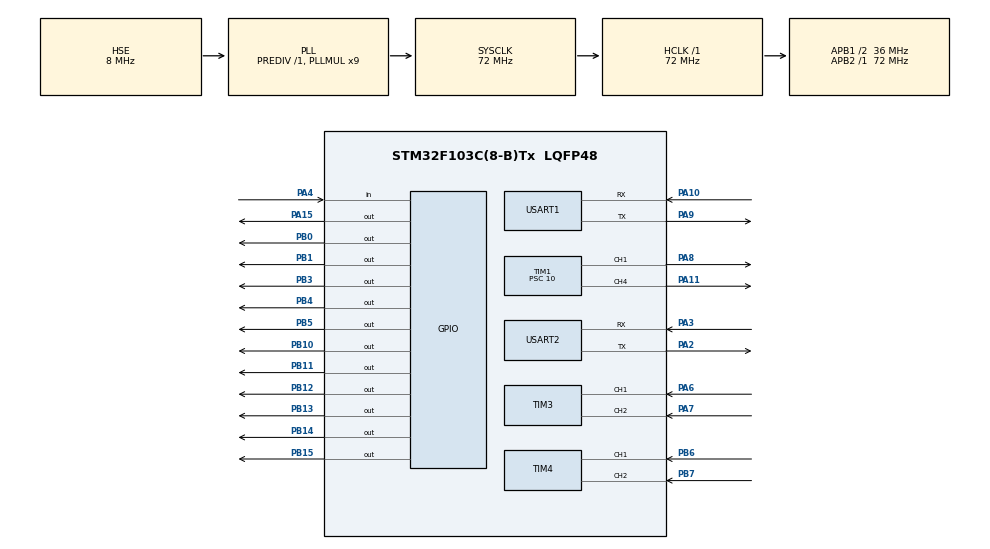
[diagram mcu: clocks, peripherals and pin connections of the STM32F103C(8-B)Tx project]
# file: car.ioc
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Mcu.Family=STM32F1
Mcu.Name=STM32F103C(8-B)Tx
Mcu.Package=LQFP48
NVIC.PriorityGroup=NVIC_PRIORITYGROUP_4
NVIC.TIM2_IRQn=true\:0\:0\:false\:false\:true\:true\:true\:true
NVIC.USART1_IRQn=true\:1\:0\:true\:false\:true\:true\:true\:true
NVIC.USART2_IRQn=true\:1\:0\:true\:false\:true\:true\:true\:true
PA10.Mode=Asynchronous
PA10.Signal=USART1_RX
PA11.Signal=S_TIM1_CH4
PA13.Mode=Serial_Wire
PA13.Signal=SYS_JTMS-SWDIO
PA14.Mode=Serial_Wire
PA14.Signal=SYS_JTCK-SWCLK
PA15.Signal=GPIO_Output
PA2.Mode=Asynchronous
PA2.Signal=USART2_TX
PA3.Mode=Asynchronous
PA3.Signal=USART2_RX
PA4.Signal=GPIO_Input
PA6.Signal=S_TIM3_CH1
PA7.Signal=S_TIM3_CH2
PA8.Signal=S_TIM1_CH1
PA9.Mode=Asynchronous
PA9.Signal=USART1_TX
PB0.Signal=GPIO_Output
PB1.Signal=GPIO_Output
PB10.Signal=GPIO_Output
PB11.Signal=GPIO_Output
PB12.Signal=GPIO_Output
PB13.Signal=GPIO_Output
PB14.Signal=GPIO_Output
PB15.Signal=GPIO_Output
PB3.Signal=GPIO_Output
PB4.Signal=GPIO_Output
PB5.Signal=GPIO_Output
PB6.Signal=S_TIM4_CH1
PB7.Signal=S_TIM4_CH2
PD0-OSC_IN.Mode=HSE-External-Oscillator
PD0-OSC_IN.Signal=RCC_OSC_IN
PD1-OSC_OUT.Mode=HSE-External-Oscillator
PD1-OSC_OUT.Signal=RCC_OSC_OUT
ProjectManager.HeapSize=0x200
ProjectManager.StackSize=0x400
ProjectManager.TargetToolchain=MDK-ARM V5.27
RCC.AHBFreq_Value=72000000
RCC.APB1CLKDivider=RCC_HCLK_DIV2
RCC.APB1Freq_Value=36000000
RCC.APB1TimFreq_Value=72000000
RCC.APB2Freq_Value=72000000
RCC.APB2TimFreq_Value=72000000
RCC.HCLKFreq_Value=72000000
RCC.PLLMUL=RCC_PLL_MUL9
RCC.PLLSourceVirtual=RCC_PLLSOURCE_HSE
RCC.SYSCLKFreq_VALUE=72000000
RCC.SYSCLKSource=RCC_SYSCLKSOURCE_PLLCLK
RCC.USBFreq_Value=72000000
SH.S_TIM1_CH1.0=TIM1_CH1,PWM Generation1 CH1
SH.S_TIM1_CH4.0=TIM1_CH4,PWM Generation4 CH4
SH.S_TIM3_CH1.0=TIM3_CH1,Encoder_Interface
SH.S_TIM3_CH2.0=TIM3_CH2,Encoder_Interface
SH.S_TIM4_CH1.0=TIM4_CH1,Encoder_Interface
SH.S_TIM4_CH2.0=TIM4_CH2,Encoder_Interface
TIM1.Channel-PWM\ Generation1\ CH1=TIM_CHANNEL_1
TIM1.Channel-PWM\ Generation4\ CH4=TIM_CHANNEL_4
TIM1.Period=7200-1
TIM1.Prescaler=10
TIM1.Pulse-PWM\ Generation1\ CH1=0
TIM1.Pulse-PWM\ Generation4\ CH4=0
TIM2.Period=4999
TIM2.Prescaler=71
TIM3.EncoderMode=TIM_ENCODERMODE_TI12
TIM4.EncoderMode=TIM_ENCODERMODE_TI12
USART1.VirtualMode=VM_ASYNC
USART2.VirtualMode=VM_ASYNC
VP_TIM1_VS_ClockSourceINT.Mode=Internal
VP_TIM2_VS_ClockSourceINT.Mode=Internal
board=custom

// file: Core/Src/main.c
/* USER CODE BEGIN Header */
/**
  ******************************************************************************
  * @file           : main.c
  * @brief          : Main program body
  ******************************************************************************
  * @attention
  *
  * <h2><center>&copy; Copyright (c) 2022 STMicroelectronics.
  * All rights reserved.</center></h2>
  *
  * This software component is licensed by ST under BSD 3-Clause license,
  * the "License"; You may not use this file except in compliance with the
  * License. You may obtain a copy of the License at:
  *                        opensource.org/licenses/BSD-3-Clause
  *
  ******************************************************************************
  */
/* USER CODE END Header */
#include "main.h"
#include "tim.h"
#include "usart.h"
#include "gpio.h"

/* USER CODE BEGIN Includes */
#include "stm32_hal_legacy.h"
#include "XMF_OLED_STM32Cube.h" //OLED头文件
#include "stdio.h"		//使用printf用
#include "inv_mpu.h"
#include "pid_api.h"
#include "mpu6050.h"
/* USER CODE END Includes */

/* USER CODE BEGIN PTD */
extern float pitch,roll,yaw; 		//欧拉角:俯仰角，滚转角，偏航角
extern short aacx,aacy,aacz;		//加速度传感器原始数据  加速度
extern short gyrox,gyroy,gyroz;	//陀螺仪原始数据  角速度
//short temp;					//MPU温度
extern int Encoder_LEFT;//左编码器读取的数值
extern int Encoder_Right;//右编码器读取的数值
extern int PWM_MAX,PWM_MIN;	// PWM限幅变量
extern int MOTO1;
extern int MOTO2;

extern float Med_Angle;      // 机械中值，能使得小车真正平衡住的角度
extern float Target_Speed;	  // 期望速度。---二次开发接口，用于控制小车前进后退及其速度。
extern float
  Vertical_Kp,
  Vertical_Kd;      // 直立环Kp、Kd
//  Vertical_Kp=0,
//  Vertical_Kd=0;      // 直立环Kp、Kd
extern float
  Velocity_Kp,
  Velocity_Ki;   // 速度环Kp、Ki（正反馈）
extern float
  Turn_Kp;
extern int Vertical_out,Velocity_out,Turn_out; // 直立环&速度环&转向环的输出变
char flag=0;
uint8_t Target_Speed_flag;
/* USER CODE END PTD */

void SystemClock_Config(void);

/* USER CODE BEGIN 0 */

#pragma import(__use_no_semihosting)
//标准库需要的支持函数
struct __FILE
{
	int handle;
};

FILE __stdout;
//定义_sys_exit()以避免使用半主机模式
void _sys_exit(int x)
{
	x = x;
}
//重定义fputc函数
int fputc(int ch, FILE *f)
{
	while((USART1->SR&0X40)==0);//循环发送,直到发送完毕
    USART1->DR = (u8) ch;
	return ch;
}
uint8_t str_buff[64];
short temp;
int temp1;
int temp2;
int temp3;
uint8_t str_buff1[64];
uint8_t str_buff2[64];
uint8_t str_buff3[64];

void HAL_TIM_PeriodElapsedCallback(TIM_HandleTypeDef *htim)
{
    if (htim == (&htim2))
    {
					flag=1;
					__HAL_TIM_CLEAR_IT(&htim2,TIM_IT_UPDATE ); //清除IT标志位

    }
		if(htim == (&htim3))
		{
					__HAL_TIM_CLEAR_IT(&htim3,TIM_IT_UPDATE ); //清除IT标志位
		}
		if(htim == (&htim4))
		{
					__HAL_TIM_CLEAR_IT(&htim4,TIM_IT_UPDATE ); //清除IT标志位
		}
	}

void HAL_UART_RxCpltCallback(UART_HandleTypeDef *huart)
{
	if(huart == (&huart1))
	{
		if(Target_Speed_flag==0xa0)
			Target_Speed = Target_Speed+10;
		else if(Target_Speed_flag==0xa1)
			Target_Speed = Target_Speed-10;
	}
	HAL_UART_Receive_IT(&huart1,&Target_Speed_flag,sizeof(Target_Speed_flag));//因为接收中断使用了一次即关闭，所以在最后加入这行代码即可实现无限使用
}
/* USER CODE END 0 */

int main(void)
{

  /* MCU Configuration--------------------------------------------------------*/

  /* Reset of all peripherals, Initializes the Flash interface and the Systick. */
  HAL_Init();

  /* Configure the system clock */
  SystemClock_Config();

  /* Initialize all configured peripherals */
  MX_GPIO_Init();
  MX_USART1_UART_Init();
  MX_TIM1_Init();
  MX_TIM3_Init();
  MX_TIM4_Init();
  MX_USART2_UART_Init();
  MX_TIM2_Init();
  /* USER CODE BEGIN 2 */
//
	OLED_Init();
	MPU_Init();
	mpu_dmp_init();                           //初始化mpu_dmp库
		/*打开编码器捕获*/
  HAL_TIM_Encoder_Start(&htim3, TIM_CHANNEL_1); // 开启编码器A
  HAL_TIM_Encoder_Start(&htim3, TIM_CHANNEL_2); // 开启编码器B
		/*打开编码器捕获*/
  HAL_TIM_Encoder_Start(&htim4, TIM_CHANNEL_1); // 开启编码器A
  HAL_TIM_Encoder_Start(&htim4, TIM_CHANNEL_2); // 开启编码器B
		/*打开PWM输出*/
	HAL_TIM_PWM_Start(&htim1,TIM_CHANNEL_1);
		/*打开PWM输出*/
	HAL_TIM_PWM_Start(&htim1,TIM_CHANNEL_4);
	HAL_TIM_Base_Start_IT(&htim2);

	HAL_UART_Receive_IT(&huart1,&Target_Speed_flag,sizeof(Target_Speed_flag));

//		/*打开定时器中断*/
  /* USER CODE END 2 */

  /* Infinite loop */
  while (1)
  {
			if(flag==1)
			{
					MPU6050_get();
					motor_encoder_get();
					Velocity_out=Velocity(Target_Speed,Encoder_LEFT,Encoder_Right); // 速度环
					Vertical_out=Vertical(Velocity_out+Med_Angle,pitch,gyroy);			  // 直立环
					Turn_out=Turn(gyroz);
				  MOTO2 = Vertical_out+Turn_out; // 右电机
					MOTO1 = Vertical_out-Turn_out; // 左电机
					Limit(&MOTO1,&MOTO2);     // PWM限幅
					Load(MOTO1,MOTO2);        // 加载到电机上
					flag=0;
			}
	}
}

void SystemClock_Config(void)
{
  RCC_OscInitTypeDef RCC_OscInitStruct = {0};
  RCC_ClkInitTypeDef RCC_ClkInitStruct = {0};

  /** Initializes the RCC Oscillators according to the specified parameters
  * in the RCC_OscInitTypeDef structure.
  */
  RCC_OscInitStruct.OscillatorType = RCC_OSCILLATORTYPE_HSE;
  RCC_OscInitStruct.HSEState = RCC_HSE_ON;
  RCC_OscInitStruct.HSEPredivValue = RCC_HSE_PREDIV_DIV1;
  RCC_OscInitStruct.HSIState = RCC_HSI_ON;
  RCC_OscInitStruct.PLL.PLLState = RCC_PLL_ON;
  RCC_OscInitStruct.PLL.PLLSource = RCC_PLLSOURCE_HSE;
  RCC_OscInitStruct.PLL.PLLMUL = RCC_PLL_MUL9;
  if (HAL_RCC_OscConfig(&RCC_OscInitStruct) != HAL_OK)
  {
    Error_Handler();
  }

  /** Initializes the CPU, AHB and APB buses clocks
  */
  RCC_ClkInitStruct.ClockType = RCC_CLOCKTYPE_HCLK|RCC_CLOCKTYPE_SYSCLK
                              |RCC_CLOCKTYPE_PCLK1|RCC_CLOCKTYPE_PCLK2;
  RCC_ClkInitStruct.SYSCLKSource = RCC_SYSCLKSOURCE_PLLCLK;
  RCC_ClkInitStruct.AHBCLKDivider = RCC_SYSCLK_DIV1;
  RCC_ClkInitStruct.APB1CLKDivider = RCC_HCLK_DIV2;
  RCC_ClkInitStruct.APB2CLKDivider = RCC_HCLK_DIV1;

  if (HAL_RCC_ClockConfig(&RCC_ClkInitStruct, FLASH_LATENCY_2) != HAL_OK)
  {
    Error_Handler();
  }
}

/* USER CODE BEGIN 4 */

//void MPU_Read(void)
//{
//
//	if(mpu_dmp_get_data(&pitch,&roll,&yaw)==0)//dmp处理得到数据，对返回值进行判断
//	{
////		temp=MPU_Get_Temperature();	              //得到温度值
//		MPU_Get_Accelerometer(&aacx,&aacy,&aacz);	//得到加速度传感器数据
//		MPU_Get_Gyroscope(&gyrox,&gyroy,&gyroz);	//得到陀螺仪数据
//		mpu6050.speed++;                          //上报速度自加
//		if(mpu6050.speed == 4)						//上报速度阈值设置
//		{
//			mpu6050.flag = 1;						//采集成功标志位设置为有效
//			mpu6050.speed = 0;						//上报速度归零
//		}
//	}
//	else 											//采集不成功
//	{
//		mpu6050.flag = 0;							//采集成功标志位设置为无效
//	}
//}
/**
  * @brief  MPU6050数据上报
  * @param  无
  * @retval 无
  */
//void DATA_Report(void)
//{
//	if(mpu6050.flag == 1)						//采集成功时
//	{
//		if(temp<0)								//对数据正负判断，判断为负时
//		{
//			temp=-temp;							//对负数据取反
//		}
//		else                                    //判断为正时
//		{
//		}
////		sprintf((char *)str_buff,"%d.%d",temp/100,temp%10);
////		OLED_ShowString(60,0,str_buff);
////		printf("temp:%d.%d --- ",temp/100,temp%10); //通过串口1输出温度
//
//		temp=pitch*10;							 //赋temp为pitch
//		if(temp<0)								//对数据正负判断，判断为负时
//		{
//			temp=-temp;						    //对负数据取反
//		}
//		else                                    //判断为正时
//		{
//		}
//		sprintf((char *)str_buff,"%d.%d",(temp)/10,(temp)%10);
//		OLED_ShowString(60,0,str_buff);
////		OLED_ShowString(65,6,str_buff);
////		printf("pitch:%d.%d --- ",temp/10,temp%10); //通过串口1输出pitch
//
//		temp=roll*10;                            //赋temp为roll
//		if(temp<0)								//对数据正负判断，判断为负时
//		{
//			temp=-temp;						    //对负数据取反
//		}
//		else                                    //判断为正时
//		{
//		}
//		sprintf((char *)str_buff,"%d.%d",temp/10,temp%10);
//		OLED_ShowString(60,4,str_buff);
////		printf("roll:%d.%d --- ",temp/10,temp%10);//通过串口1输出roll
//
//		temp=yaw*10;                           //赋temp为yaw
//	if(temp<0)								//对数据正负判断，判断为负时
//		{
//			temp=-temp;						    //对负数据取反
////			OLED_ShowString(100,6,"-");
//		}
//		else                                    //判断为正时
//		{	//OLED_ShowString(100,6,"+");
//		}
//		sprintf((char *)str_buff,"%d.%d",temp/10,temp%10);
//		OLED_ShowString(60,2,str_buff);
////		sprintf((char *)str_buff,"%f",yaw);
////		OLED_ShowString(60,0,str_buff);
////		printf("yaw:%d.%d\r\n",temp/10,temp%10);//通过串口1输出yaw
////		printf("gyrox:%d,gyroy:%d,gyroz:%d,aacx:%d,aacy:%d,aacz:%d\r\n",gyrox,gyroy,gyroz,aacx,aacy,aacz);//上报角速度数据，角加速度数据
//		mpu6050.flag = 0;									//采集成功标志位设置为无效
//	}
//	else ;														//防卡死
//}

/* USER CODE END 4 */

void Error_Handler(void)
{
  __disable_irq();
  while (1)
  {
  }
}
